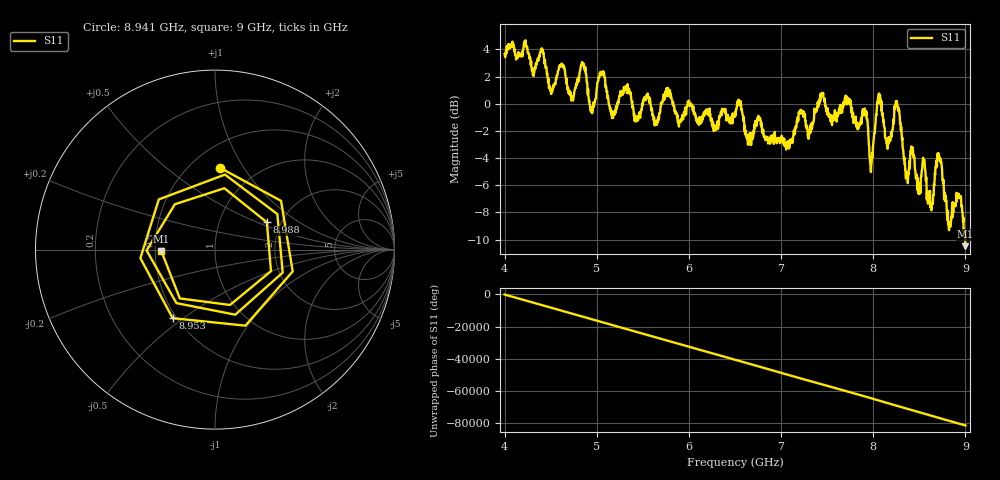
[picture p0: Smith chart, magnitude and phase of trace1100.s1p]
! Created with skrf 1.8.0 (http://scikit-rf.org).
# Hz S RI R 50.0
!freq ReS11 ImS11
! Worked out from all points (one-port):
!   1601 points, 4 GHz to 9 GHz, reference 50 ohm
!   lowest |S11| = -10.5 dB at 9 GHz (marker M1), VSWR 1.85, Z = 27 - j0.536 ohm
!   |S11| at or under -10 dB: 8.998525 GHz to end of sweep
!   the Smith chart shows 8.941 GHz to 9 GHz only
!   S11 on the Smith chart (normalised r, x): 8.941 GHz: 0.69, +0.79; 8.953 GHz: 0.48, -0.46; 8.988 GHz: 1.69, +0.58; 9 GHz: 0.54, -0.01
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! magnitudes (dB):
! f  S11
! 4 GHz  3.7
! 4.403 GHz  4.1
! 4.506 GHz  0.7
! 4.625 GHz  2.7
! 4.728 GHz  0.3
! 4.853 GHz  2.9
! 4.947 GHz  -0.3
! 5.053 GHz  2.1
! 5.162 GHz  -0.5
! 5.25 GHz  0.6
! 5.875 GHz  -0.8
! 6.5 GHz  -0.7
! 7.125 GHz  -2.7
! 7.75 GHz  0.3
! 7.912 GHz  -0.8
! 7.978 GHz  -4.5
! 8.059 GHz  0.7
! 8.159 GHz  -2.8
! 8.256 GHz  0.2
! 8.375 GHz  -5.8
! 8.55 GHz  -4.1
! 8.625 GHz  -7.5
! 8.719 GHz  -4.2
! 8.822 GHz  -9.3
! 8.941 GHz  -6.8
! 8.953 GHz  -7.0
! 8.988 GHz  -9.7
! 9 GHz  -10.5
